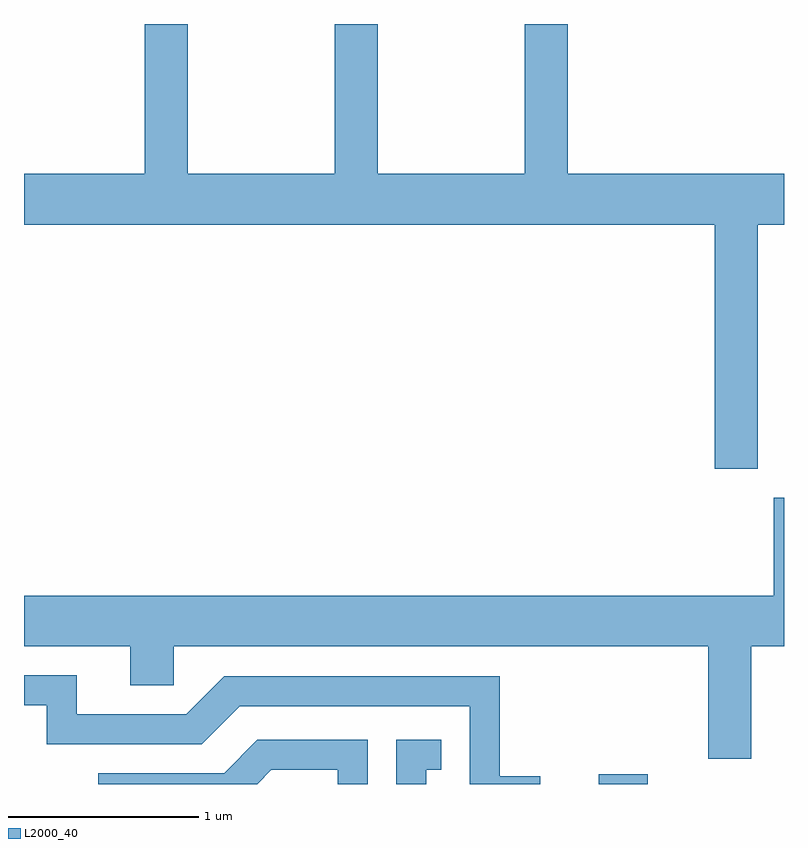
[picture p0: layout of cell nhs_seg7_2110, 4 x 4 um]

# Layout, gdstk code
import gdstk
lib = gdstk.Library(unit=1e-6, precision=1e-09)
def R(c, l, rs):  # rectangles x0, y0, x1, y1
    for r in rs: c.add(gdstk.rectangle(r[:2], r[2:], *l))
def P(c, l, *ps):  # polygons
    for p in ps: c.add(gdstk.Polygon(p, *l))
L2000_40 = (2000, 40)

nhs_seg7_2110 = lib.new_cell('nhs_seg7_2110')
R(nhs_seg7_2110, L2000_40, [(252.636,1720.252,252.894,1720.304)])
P(nhs_seg7_2110, L2000_40, [(253.474,1723.196),(253.611,1723.196),(253.611,1723.464),(252.474,1723.464),(252.474,1724.252),(252.246,1724.252),(252.246,1723.464),(251.474,1723.464),(251.474,1724.252),(251.246,1724.252),(251.246,1723.464),(250.474,1723.464),(250.474,1724.252),(250.246,1724.252),(250.246,1723.464),(249.611,1723.464),(249.611,1723.196),(253.246,1723.196),(253.246,1721.911),(253.474,1721.911)],
  [(253.439,1720.976),(253.611,1720.976),(253.611,1721.759),(253.556,1721.759),(253.556,1721.244),(249.611,1721.244),(249.611,1720.976),(250.171,1720.976),(250.171,1720.771),(250.399,1720.771),(250.399,1720.976),(253.211,1720.976),(253.211,1720.386),(253.439,1720.386)],
  [(252.329,1720.294),(252.114,1720.294),(252.114,1720.819),(250.664,1720.819),(250.464,1720.619),(249.889,1720.619),(249.889,1720.824),(249.611,1720.824),(249.611,1720.666),(249.731,1720.666),(249.731,1720.461),(250.547,1720.461),(250.747,1720.661),(251.956,1720.661),(251.956,1720.252),(252.329,1720.252)],
  [(250.912,1720.326),(251.261,1720.326),(251.261,1720.252),(251.419,1720.252),(251.419,1720.484),(250.839,1720.484),(250.664,1720.309),(250.001,1720.309),(250.001,1720.252),(250.838,1720.252)],
  [(251.729,1720.326),(251.808,1720.326),(251.808,1720.484),(251.571,1720.484),(251.571,1720.252),(251.729,1720.252)])

lib.write_gds('nhs_seg7_2110.gds')
